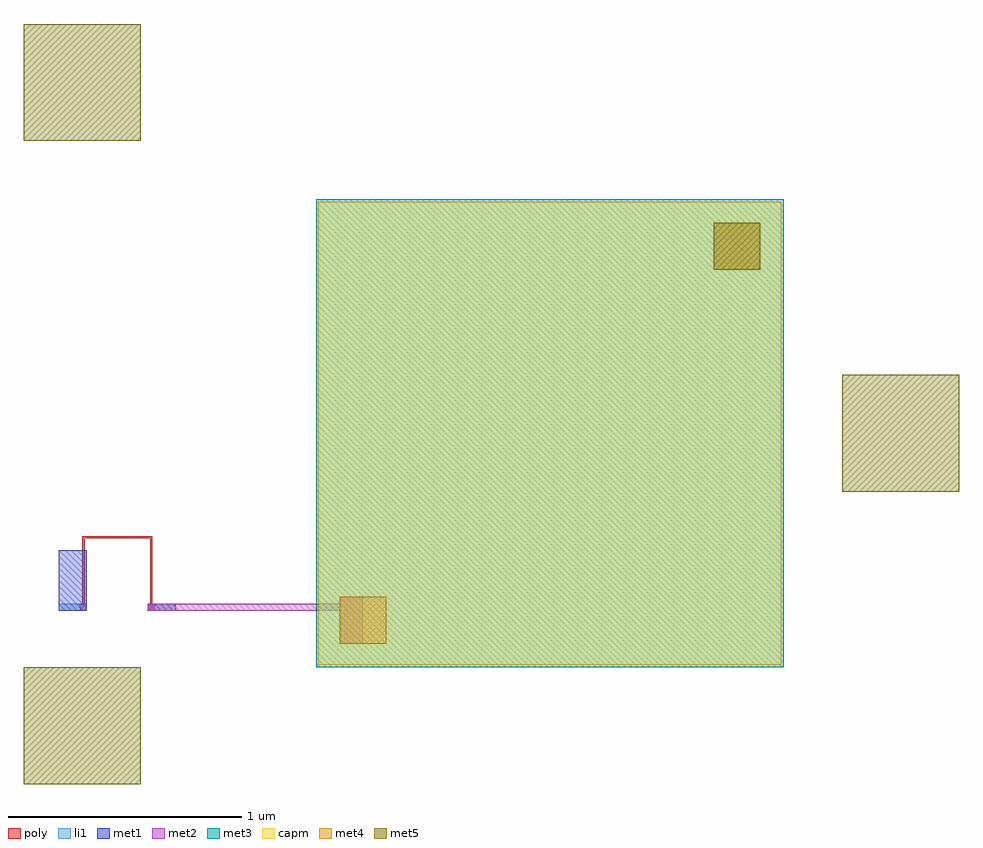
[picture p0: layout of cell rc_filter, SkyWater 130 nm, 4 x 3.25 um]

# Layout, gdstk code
import gdstk
lib = gdstk.Library(unit=1e-6, precision=1e-09)
def R(c, l, rs):  # rectangles x0, y0, x1, y1
    for r in rs: c.add(gdstk.rectangle(r[:2], r[2:], *l))
poly = (66, 20)
li1 = (67, 20)
met1 = (68, 20)
met2 = (69, 20)
met3 = (70, 20)
met4 = (71, 20)
met5 = (72, 20)
capm = (89, 44)

rc_filter = lib.new_cell('rc_filter')
R(rc_filter, poly, [(0.49,0.99,0.52,1.02), (0.78,0.99,0.81,1.02), (0.5,1.02,0.51,1.3), (0.79,1.02,0.8,1.3), (0.5,1.3,0.8,1.31)])
R(rc_filter, li1, [(0.4,0.99,0.52,1.02), (0.78,0.99,0.9,1.02)])
R(rc_filter, met1, [(0.4,0.99,0.52,1.25), (0.78,0.99,0.9,1.02)])
R(rc_filter, met2, [(1.6,0.85,1.7,0.99), (0.78,0.99,1.7,1.02), (1.6,1.02,1.7,1.05)])
R(rc_filter, met3, [(1.5,0.75,3.5,2.75)])
R(rc_filter, met4, [(1.6,0.85,1.8,1.05), (3.2,2.45,3.4,2.65)])
R(rc_filter, met5, [(0.25,0.25,0.75,0.75), (3.75,1.5,4.25,2), (3.2,2.45,3.4,2.65), (0.25,3,0.75,3.5)])
R(rc_filter, capm, [(1.51,0.76,3.49,2.74)])

lib.write_gds('rc_filter.gds')
